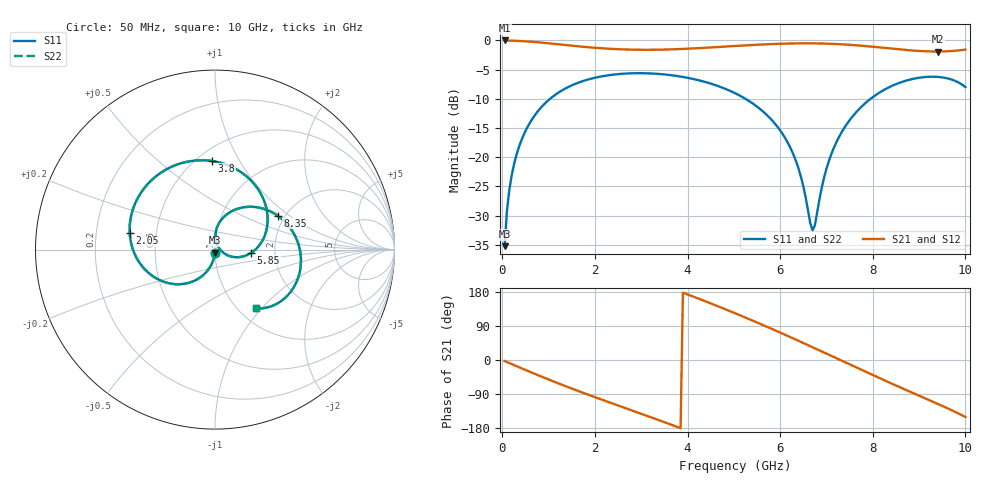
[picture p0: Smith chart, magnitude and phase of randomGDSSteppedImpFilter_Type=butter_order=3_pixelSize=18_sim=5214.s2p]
! freq	dB(S11)	phase(S11)	dB(S12)	phase(S12)
!  dB(S21)	phase(S21)	dB(S22)	phase(S22)
!S-par simulation data
#  GHz  S  DB  R 50
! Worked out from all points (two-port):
!   200 points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, 50 MHz to 10 GHz, reference 50 ohm
!   highest |S21| = -0.01 dB at 50 MHz (marker M1); lowest = -1.9 dB at 9.4 GHz (marker M2)
!   |S21| within 3 dB of the highest: start of sweep to end of sweep
!   lowest |S11| = -35.2 dB at 50 MHz (marker M3), VSWR 1.04, Z = 49.9 - j1.73 ohm
!   |S11| at or under -10 dB: start of sweep to 1.031 GHz; 5.252 GHz to 7.951 GHz (2.699 GHz wide, 40.9 % of centre)
!   |S22| runs from -35.2 to -5.6 dB; largest |S21 - S12| = 0
!   S11 on the Smith chart (normalised r, x): 50 MHz: 1.00, -0.03; 2.05 GHz: 0.35, +0.08; 3.8 GHz: 0.59, +0.77; 5.85 GHz: 1.50, -0.06; 8.35 GHz: 1.83, +0.82; 10 GHz: 1.19, -0.93
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0.05  -35.22 -92.6  -0.01 -2.7  -0.01 -2.7  -35.22 -92.6
0.1  -29.21 -95.4  -0.02 -5.4  -0.02 -5.4  -29.21 -95.4
0.2  -23.23 -100.8  -0.04 -10.6  -0.04 -10.6  -23.23 -100.8
0.5  -15.51 -116.7  -0.16 -26.2  -0.16 -26.2  -15.51 -116.7
1.1  -9.56 -146.9  -0.57 -56.4  -0.57 -56.4  -9.56 -146.9
1.75  -6.93 -177.5  -1.10 -86.8  -1.10 -86.8  -6.93 -177.5
2.05  -6.30 169.0  -1.29 -100.3  -1.29 -100.3  -6.30 169.1
2.65  -5.68 142.7  -1.55 -126.6  -1.55 -126.6  -5.68 142.7
3.4  -5.75 109.9  -1.58 -159.6  -1.58 -159.6  -5.75 109.9
3.8  -6.12 92.0  -1.49 -177.7  -1.49 -177.7  -6.12 92.0
4.45  -7.27 62.0  -1.23 151.8  -1.23 151.8  -7.27 62.1
5.05  -9.13 33.3  -0.94 122.2  -0.94 122.2  -9.13 33.3
5.85  -13.90 -5.2  -0.62 80.5  -0.62 80.5  -13.90 -5.2
6.35  -20.83 -23.8  -0.51 53.2  -0.51 53.2  -20.84 -23.8
6.7  -32.53 28.9  -0.50 33.7  -0.50 33.7  -32.52 29.0
7  -21.97 88.4  -0.55 16.8  -0.55 16.8  -21.97 88.4
7.3  -16.11 80.2  -0.65 -0.2  -0.65 -0.2  -16.11 80.3
7.75  -11.39 59.1  -0.90 -25.7  -0.90 -25.7  -11.39 59.1
8.35  -8.03 28.5  -1.36 -59.0  -1.36 -59.0  -8.02 28.5
8.85  -6.62 3.2  -1.72 -86.0  -1.72 -86.0  -6.62 3.2
9.4  -6.24 -24.3  -1.90 -115.5  -1.90 -115.5  -6.24 -24.3
10  -7.99 -55.3  -1.58 -150.4  -1.58 -150.4  -7.98 -55.2
